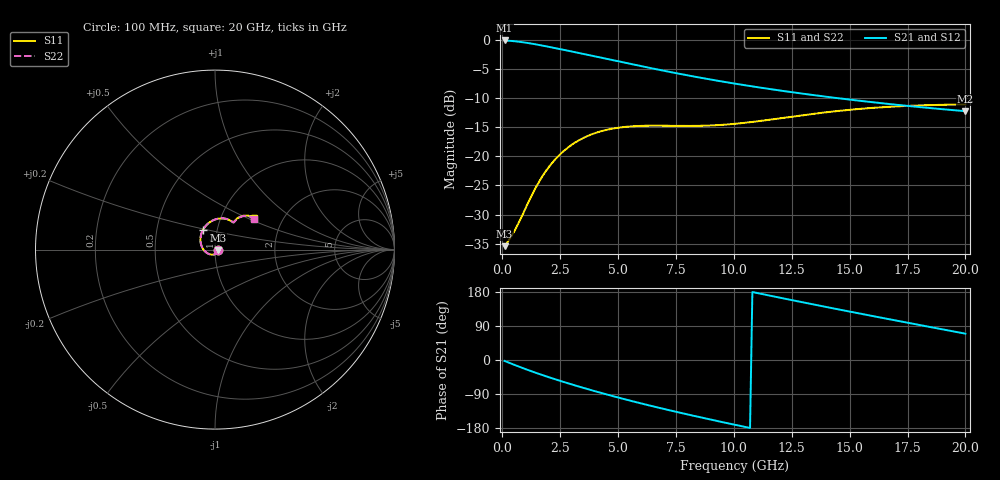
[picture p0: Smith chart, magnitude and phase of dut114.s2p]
! Touchstone file exported from HFSS 2024.1.0
!  File:  C:/UserFiles/LocalFiles/RDL_TSV_Batchsim/temp_RDL_TSV_114_1779423040.aedt
!  Generated:  12:24:57 PM May 22, 2026
!  Design:  RDL_TSV
!  Project:  temp_RDL_TSV_114_1779423040
!  Setup:  Setup1
!  Solution:  Sweep
! Variables:
!  dtsv = 12.35um
!  hbump = 3um
!  htsv = 88.31um
!  ldown = 604.02um
!  lrdl = 627.06um
!  p = 40
!  p1 = 45.27um
!  rhole = 10um
!  subl = 4320.3um
!  t = 450um
!  tdown = 2.7um
!  trdl = 4.65um
!  viad = 10um
!  wdown = 28.63um
!  wrdl = 24.58um
!  xbump = 18um
# GHz S MA R 50.000000
! Terminal data exported
! Port[1] = TM1_1_T1
! Port[2] = TM1_4_T1
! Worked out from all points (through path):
!   200 points, 100 MHz to 20 GHz, reference 50 ohm
!   highest |S21| = -0.15 dB at 100 MHz (marker M1); lowest = -12.3 dB at 20 GHz (marker M2)
!   group delay of S21, straight-line fit = 38.4 ps
!   lowest |S11| = -35.4 dB at 100 MHz (marker M3), VSWR 1.03, Z = 51.7 - j0.353 ohm
!   |S11| at or under -10 dB: start of sweep to end of sweep
!   |S22| runs from -35.4 to -11.2 dB; largest |S21 - S12| = 9e-15
!   S11 on the Smith chart (normalised r, x): 100 MHz: 1.03, -0.01; 3.1 GHz: 0.86, +0.19; 20 GHz: 1.43, +0.54
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0.1  0.01697 -11.6  0.9824 -2.6  0.9824 -2.6  0.01697 -11.6
! Gamma 0 0 0 0
! Port Impedance 50 0 50 0
0.5  0.02241 -68.7  0.9689 -12.3  0.9689 -12.3  0.0224 -68.7
0.8  0.02932 -107.8  0.9538 -19.4  0.9538 -19.4  0.02932 -107.8
1.2  0.04332 -147.5  0.9279 -28.4  0.9279 -28.4  0.04334 -147.5
1.6  0.06107 -176.2  0.8982 -37.0  0.8982 -37.0  0.06113 -176.2
1.9  0.07548 167.0  0.8749 -43.2  0.8749 -43.2  0.07558 166.9
2.3  0.09475 148.7  0.8437 -51.2  0.8437 -51.2  0.09491 148.6
3.1  0.1294 121.0  0.7828 -66.3  0.7828 -66.3  0.1296 120.9
3.5  0.1435 110.2  0.7535 -73.5  0.7535 -73.5  0.1438 110.1
4.2  0.1624 94.6  0.7043 -85.7  0.7043 -85.7  0.1629 94.5
5.1  0.1766 79.6  0.6454 -100.6  0.6454 -100.6  0.1772 79.5
5.9  0.1819 70.0  0.5975 -113.1  0.5975 -113.1  0.1825 69.8
6.8  0.1828 62.6  0.5491 -126.6  0.5491 -126.6  0.1835 62.3
7.5  0.1822 59.1  0.5156 -136.6  0.5156 -136.6  0.1828 58.7
8.3  0.1821 56.8  0.4812 -147.8  0.4812 -147.8  0.1826 56.3
10.1  0.1901 55.6  0.4174 -171.7  0.4174 -171.7  0.1901 55.0
11.8  0.2089 54.9  0.3706 166.7  0.3706 166.7  0.2082 54.3
13.4  0.2306 52.7  0.3351 147.0  0.3351 147.0  0.2293 52.2
15  0.2502 49.3  0.3059 127.8  0.3059 127.8  0.2485 48.8
16.7  0.2653 45.3  0.2805 107.7  0.2805 107.7  0.2634 44.9
18.3  0.2738 41.8  0.2607 89.1  0.2607 89.1  0.2717 41.5
20  0.278 39.0  0.2434 69.5  0.2434 69.5  0.2759 38.7
